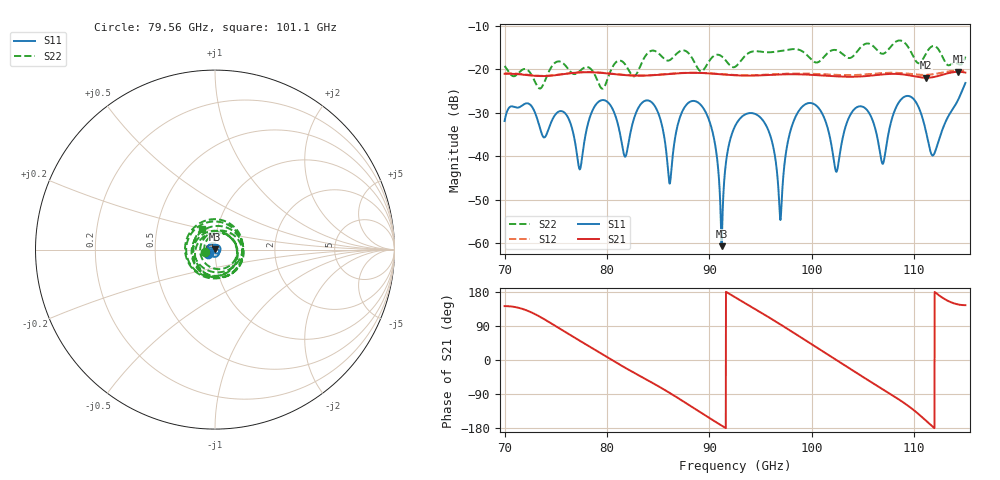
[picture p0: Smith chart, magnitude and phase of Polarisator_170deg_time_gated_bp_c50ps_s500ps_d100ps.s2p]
# Hz S RI R 1.000000
! Metas.Vna.Tools, 2.4.7898.19887
! Metas.Vna.Data, 2.4.7898.19873
! Created: UTC 2021.09.30 14:30:59
! FREQ  re:S1,1  im:S1,1  re:S2,1  im:S2,1  re:S1,2  im:S1,2  re:S2,2  im:S2,2
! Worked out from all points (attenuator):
!   2251 points, 70 GHz to 115 GHz, reference 1 ohm
!   highest |S21| = -20.62 dB at 114.3 GHz (marker M1); lowest = -22.0 dB at 111.2 GHz (marker M2)
!   lowest |S11| = -60.7 dB at 91.2 GHz (marker M3), VSWR 1.00, Z = 1 + j0.00178 ohm
!   |S11| at or under -10 dB: start of sweep to end of sweep
!   |S22| runs from -24.5 to -13.4 dB; largest |S21 - S12| = 0.04
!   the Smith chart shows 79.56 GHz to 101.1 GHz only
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7e10  0.0244 0.00677  -0.0697 0.0542  -0.074 0.0497  0.0874 -0.0646
7.572e10  -0.0313 -0.00835  0.0194 0.0853  0.0163 0.0863  0.0835 -0.0814
7.75e10  0.00841 -0.000504  0.0612 0.0685  0.0594 0.0706  0.00282 0.0987
7.926e10  -0.0303 -0.0303  0.0856 0.0305  0.0851 0.0334  -0.0302 -0.0581
8.176e10  -0.0098 -0.000771  0.08 -0.0296  0.0816 -0.026  0.0358 -0.1081
8.5e10  -0.0124 0.0288  0.0308 -0.0801  0.0352 -0.0788  -0.0416 -0.1474
8.612e10  0.00455 -0.00157  0.00487 -0.0879  0.00952 -0.088  -0.0506 0.1162
8.742e10  -0.0324 -0.00987  -0.0288 -0.0853  -0.0245 -0.0871  0.1342 -0.0948
8.942e10  -0.00411 0.0352  -0.0721 -0.0539  -0.0696 -0.0575  0.0224 0.0953
9.12e10  -0.00023 0.000893  -0.0865 -0.0103  -0.0863 -0.0144  -0.0844 -0.1119
9.25e10  -0.00624 0.0211  -0.0823 0.021  -0.0839 0.0171  0.0436 0.0967
9.542e10  0.0103 -0.0215  -0.0412 0.0746  -0.0456 0.0731  0.0186 0.1554
9.694e10  -0.00104 0.00152  -0.00573 0.0866  -0.00983 0.0874  -0.0171 -0.1606
9.804e10  0.0213 -0.00495  0.0224 0.0844  0.0196 0.0867  -0.1255 0.1138
1e11  -0.0111 -0.039  0.0646 0.0566  0.0649 0.0601  0.00877 -0.1269
1.0238e11  -0.00427 -0.00504  0.0826 7.73e-05  0.0858 0.00371  0.1589 -0.0455
1.0434e11  -0.0209 -0.0294  0.0683 -0.0451  0.0747 -0.0419  -0.0289 0.1519
1.075e11  -0.00668 -0.0173  0.00462 -0.0877  0.0151 -0.0894  -0.0184 0.1683
1.0936e11  -0.0489 -0.00602  -0.0426 -0.0739  -0.0338 -0.082  -0.0119 -0.1828
1.1118e11  -0.0127 0.0135  -0.0751 -0.0262  -0.0729 -0.0455  0.1383 0.0661
1.1432e11  -0.0417 0.0172  -0.0775 0.0515  -0.095 0.0156  0.1074 0.0386
1.15e11  -0.0681 0.0128  -0.0745 0.0527  -0.0939 0.0174  0.0279 -0.1365
